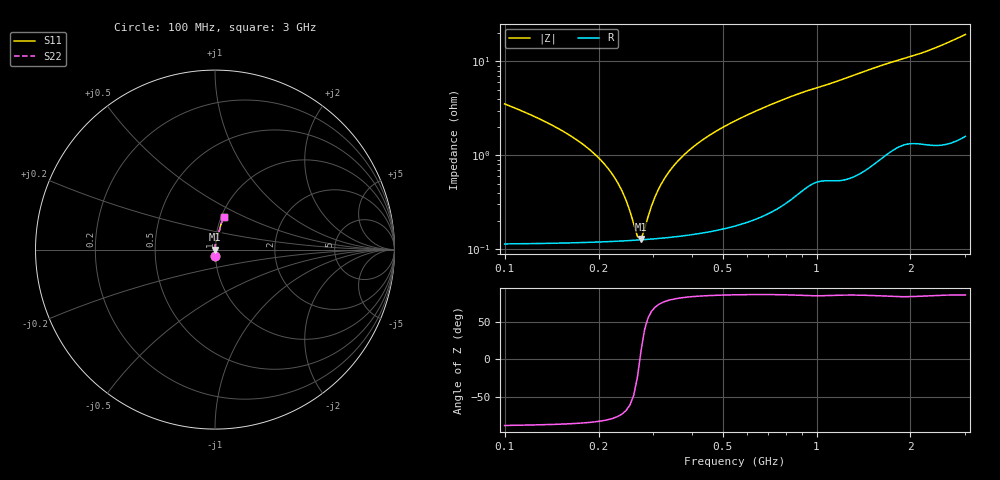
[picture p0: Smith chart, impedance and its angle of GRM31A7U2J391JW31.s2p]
!Murata Part Number: GRM31A7U2J391JW31
!These Parameters are Measured in Series Mode Connection
!Data Generated on Mar 30, 2021
!  o--ll--o
!Port1  Port2
!  o------o
!Operation Temp=25[degC], DC Bias Voltage=0[V]
!Freq. Start=100[MHz] Stop=3[GHz] 401[Steps]
# Hz S RI R 50
!Freq.(Hz) S11(Real) S11(Imag) S21(Real) S21(Imag) S12(Real) S12(Imag) S22(Real) S22(Imag)
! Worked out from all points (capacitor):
!   401 points, 100 MHz to 3 GHz, reference 50 ohm
!   read as one part in series: C = 390 pF near 114.5 MHz
!   lowest |Z| = 129 mohm at 274 MHz (marker M1)
!   series resonance near 271.5 MHz, so ESL is about 880 pH
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1e8  0.00238 -0.0352  0.9976 0.0352  0.9976 0.0352  0.00238 -0.0352
1.145e8  0.002 -0.0292  0.998 0.0292  0.998 0.0292  0.002 -0.0292
1.58e8  0.00146 -0.0171  0.9985 0.0171  0.9985 0.0171  0.00146 -0.0171
2.015e8  0.00128 -0.00909  0.9987 0.00909  0.9987 0.00909  0.00128 -0.00909
2.305e8  0.00124 -0.00494  0.9988 0.00494  0.9988 0.00494  0.00124 -0.00494
2.595e8  0.00124 -0.00136  0.9988 0.00136  0.9988 0.00136  0.00124 -0.00136
2.6675e8  0.00125 -0.000532  0.9988 0.000532  0.9988 0.000532  0.00125 -0.000532
2.74e8  0.00126 0.000275  0.9987 -0.000275  0.9987 -0.000275  0.00126 0.000275
2.8125e8  0.00127 0.00106  0.9987 -0.00106  0.9987 -0.00106  0.00127 0.00106
3.03e8  0.0013 0.00331  0.9987 -0.00331  0.9987 -0.00331  0.0013 0.00331
3.175e8  0.00133 0.00473  0.9987 -0.00473  0.9987 -0.00473  0.00133 0.00473
3.3925e8  0.00138 0.00677  0.9986 -0.00677  0.9986 -0.00677  0.00138 0.00677
3.6825e8  0.00146 0.00933  0.9985 -0.00933  0.9985 -0.00933  0.00146 0.00933
4.045e8  0.00159 0.0124  0.9984 -0.0124  0.9984 -0.0124  0.00159 0.0124
4.5525e8  0.0018 0.0163  0.9982 -0.0163  0.9982 -0.0163  0.0018 0.0163
5.8575e8  0.00255 0.0257  0.9975 -0.0257  0.9975 -0.0257  0.00255 0.0257
8.105e8  0.00485 0.0406  0.9952 -0.0406  0.9952 -0.0406  0.00485 0.0406
1.0715e9  0.00839 0.0551  0.9916 -0.0551  0.9916 -0.0551  0.00839 0.0551
1.55e9  0.0154 0.0841  0.9846 -0.0841  0.9846 -0.0841  0.0154 0.0841
2.03575e9  0.0254 0.1094  0.9746 -0.1094  0.9746 -0.1094  0.0254 0.1094
2.5215e9  0.0334 0.1417  0.9666 -0.1417  0.9666 -0.1417  0.0334 0.1417
3e9  0.05 0.1804  0.95 -0.1804  0.95 -0.1804  0.05 0.1804
